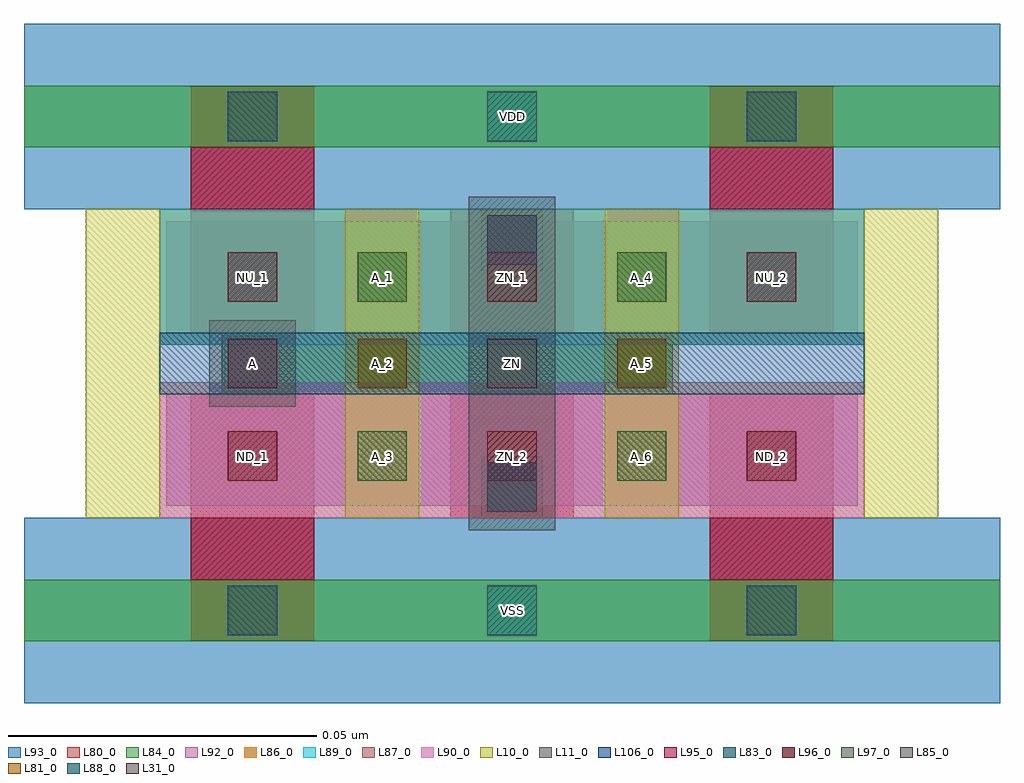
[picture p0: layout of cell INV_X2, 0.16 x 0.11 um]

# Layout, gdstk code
import gdstk
lib = gdstk.Library(unit=1e-6, precision=1e-09)
def R(c, l, rs):  # rectangles x0, y0, x1, y1
    for r in rs: c.add(gdstk.rectangle(r[:2], r[2:], *l))
def A(c, l, x, y, w, h, nx, ny, dx, dy):  # array of equal rectangles
    R(c, l, [(x+i*dx, y+j*dy, x+i*dx+w, y+j*dy+h) for i in range(nx) for j in range(ny)])
L10_0 = (10, 0)
L11_0 = (11, 0)
L31_0 = (31, 0)
L80_0 = (80, 0)
L81_0 = (81, 0)
L83_0 = (83, 0)
L84_0 = (84, 0)
L85_0 = (85, 0)
L86_0 = (86, 0)
L87_0 = (87, 0)
L88_0 = (88, 0)
L89_0 = (89, 0)
L90_0 = (90, 0)
L92_0 = (92, 0)
L93_0 = (93, 0)
L95_0 = (95, 0)
L96_0 = (96, 0)
L97_0 = (97, 0)
L106_0 = (106, 0)

inv_x2 = lib.new_cell('INV_X2')
A(inv_x2, L10_0, -0.027, 0.015, 0.012, 0.05, 4, 1, 0.042, 0)
R(inv_x2, L11_0, [(0.035,0.013,0.049,0.047), (-0.007,0.033,0.007,0.047), (0.035,0.033,0.049,0.067)])
R(inv_x2, L31_0, [(-0.004,0.036,0.004,0.044), (0.038,0.036,0.046,0.044)])
A(inv_x2, L80_0, -0.01, 0.015, 0.02, 0.02, 3, 1, 0.042, 0)
R(inv_x2, L80_0, [(-0.01,-0.005,0.01,0.016), (0.074,-0.005,0.094,0.016), (-0.01,0.045,0.01,0.065), (-0.01,0.045,0.01,0.065), (0.032,0.045,0.052,0.065), (0.032,0.045,0.052,0.065), (0.074,0.045,0.094,0.065), (0.074,0.045,0.094,0.065), (-0.01,0.056,0.01,0.085), (0.074,0.056,0.094,0.085)])
R(inv_x2, L81_0, [(0.017,0.036,0.025,0.044), (0.059,0.036,0.067,0.044)])
R(inv_x2, L83_0, [(-0.004,-0.004,0.004,0.004), (0.08,-0.004,0.088,0.004), (0.038,0.016,0.046,0.024), (0.038,0.056,0.046,0.064), (0.038,0.056,0.046,0.064), (-0.004,0.076,0.004,0.084), (0.08,0.076,0.088,0.084)])
R(inv_x2, L84_0, [(-0.037,-0.005,0.121,0.005), (0.037,0.015,0.047,0.025), (-0.005,0.035,0.047,0.045), (0.037,0.035,0.068,0.045), (0.037,0.055,0.047,0.065), (-0.037,0.075,0.121,0.085)])
R(inv_x2, L85_0, [(0.038,0.016,0.046,0.024), (-0.004,0.036,0.004,0.044), (0.038,0.056,0.046,0.064)])
R(inv_x2, L86_0, [(-0.015,0.043,0.099,0.065)])
R(inv_x2, L87_0, [(-0.015,0.015,0.099,0.037)])
R(inv_x2, L88_0, [(0.038,-0.004,0.046,0.004), (0.038,0.076,0.046,0.084)])
R(inv_x2, L89_0, [(-0.015,0.043,0.099,0.065)])
R(inv_x2, L90_0, [(-0.015,0.015,0.099,0.037)])
R(inv_x2, L92_0, [(-0.014,0.017,0.098,0.035), (-0.014,0.045,0.098,0.063)])
R(inv_x2, L93_0, [(-0.037,-0.015,0.121,0.015), (-0.037,0.065,0.121,0.095)])
R(inv_x2, L95_0, [(-0.01,0.005,0.01,0.015), (0.074,0.005,0.094,0.015), (-0.01,0.065,0.01,0.075), (0.074,0.065,0.094,0.075)])
A(inv_x2, L96_0, -0.004, 0.021, 0.008, 0.008, 3, 2, 0.042, 0.029)
R(inv_x2, L97_0, [(0.017,0.021,0.025,0.029), (0.059,0.021,0.067,0.029), (0.017,0.036,0.025,0.044), (0.059,0.036,0.067,0.044), (0.017,0.05,0.025,0.058), (0.059,0.05,0.067,0.058)])
R(inv_x2, L106_0, [(-0.015,0.035,0.099,0.045)])
inv_x2.add(gdstk.Label('VDD', (0.042,0.08), layer=88, texttype=0))
inv_x2.add(gdstk.Label('VSS', (0.042,0), layer=88, texttype=0))
inv_x2.add(gdstk.Label('ND_1', (0,0.025), layer=96, texttype=0))
inv_x2.add(gdstk.Label('ZN_2', (0.042,0.025), layer=96, texttype=0))
inv_x2.add(gdstk.Label('ND_2', (0.084,0.025), layer=96, texttype=0))
inv_x2.add(gdstk.Label('NU_1', (0,0.054), layer=96, texttype=0))
inv_x2.add(gdstk.Label('ZN_1', (0.042,0.054), layer=96, texttype=0))
inv_x2.add(gdstk.Label('NU_2', (0.084,0.054), layer=96, texttype=0))
inv_x2.add(gdstk.Label('A_4', (0.063,0.054), layer=97, texttype=0))
inv_x2.add(gdstk.Label('A_5', (0.063,0.04), layer=97, texttype=0))
inv_x2.add(gdstk.Label('A_6', (0.063,0.025), layer=97, texttype=0))
inv_x2.add(gdstk.Label('A_1', (0.021,0.054), layer=97, texttype=0))
inv_x2.add(gdstk.Label('A_2', (0.021,0.04), layer=97, texttype=0))
inv_x2.add(gdstk.Label('A_3', (0.021,0.025), layer=97, texttype=0))
inv_x2.add(gdstk.Label('ZN', (0.042,0.04), layer=31, texttype=0))
inv_x2.add(gdstk.Label('A', (0,0.04), layer=31, texttype=0))

lib.write_gds('INV_X2.gds')
